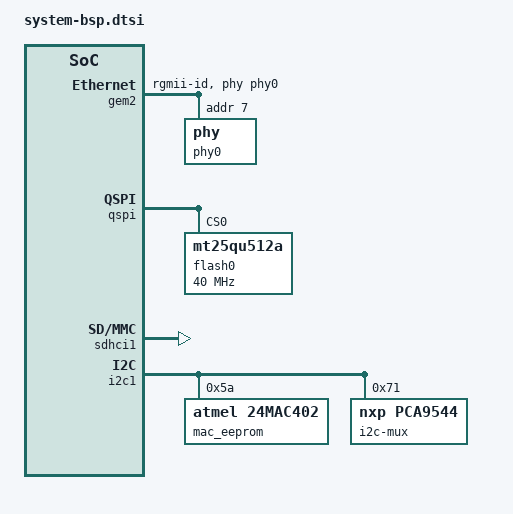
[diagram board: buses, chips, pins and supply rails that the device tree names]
#include "include/dt-bindings/input/input.h"
#include "include/dt-bindings/interrupt-controller/irq.h"
#include "include/dt-bindings/gpio/gpio.h"
#include "include/dt-bindings/pinctrl/pinctrl-zynqmp.h"
#include "include/dt-bindings/phy/phy.h"

/ {
   chosen {
      bootargs = "earlycon console=ttyPS0,115200 clk_ignore_unused root=/dev/mmcblk0p2 rw rootwait cma=512M";
      nvmem = &mac_eeprom;
   };

   xlnk {
      compatible = "xlnx,xlnk-1.0";
   };

   aliases {
      mmc0 = &sdhci1;
      mmc1 = &sdhci0;
   };

   pmu {
      /delete-property/ interrupt-affinity;
      interrupt-affinity = <&cpu0>, <&cpu1>;
   };
};

&gem2 {
   status = "okay";
   phy-mode = "rgmii-id";
   nvmem-cells = <&mac_address>;
   nvmem-cell-names = "mac-address";
   phy-handle = <&phy0>;
   phy0: phy@7 {
      reg = <0x7>;
      ti,rx-internal-delay = <0x5>;
      ti,tx-internal-delay = <0x5>;
      ti,fifo-depth = <0x1>;
   };
};

/* QSPI partitions are defined with petalinux-config and described in system.conf.dtsi */
&qspi { /* MIO 0-5 - U143 */
   flash0: flash@0 { /* MT25QU512A */
      compatible = "mt25qu512a", "jedec,spi-nor"; /* 64MB */
      #address-cells = <1>;
      #size-cells = <1>;
      reg = <0>;
      spi-tx-bus-width = <4>;
      spi-rx-bus-width = <4>;
      spi-max-frequency = <40000000>; /* 40MHz */
   };
};

/* SD1 for SD card boot */
/* SD1 with level shifter */
/* only supports 3.3V, no level shifter */
&sdhci1 {
   status = "okay";
   no-1-8-v;
   disable-wp;
};

&i2c1 {
   #address-cells = <1>;
   #size-cells = <0>;

   /* Ethernet MAC ID EEPROM */
   mac_eeprom: mac_eeprom@5a { /* U11 */
      #address-cells = <1>;
      #size-cells = <1>;
      compatible = "atmel,24mac402";
      reg = <0x5a>;

      mac_address: mac-address@9A {
         reg = <0x9A 0x06>;
      };
   };

   /* I2C Switch */
   i2c-mux@71 { /* U10 */
      compatible = "nxp,pca9544";
      #address-cells = <1>;
      #size-cells = <0>;
      reg = <0x71>;
   };
};
